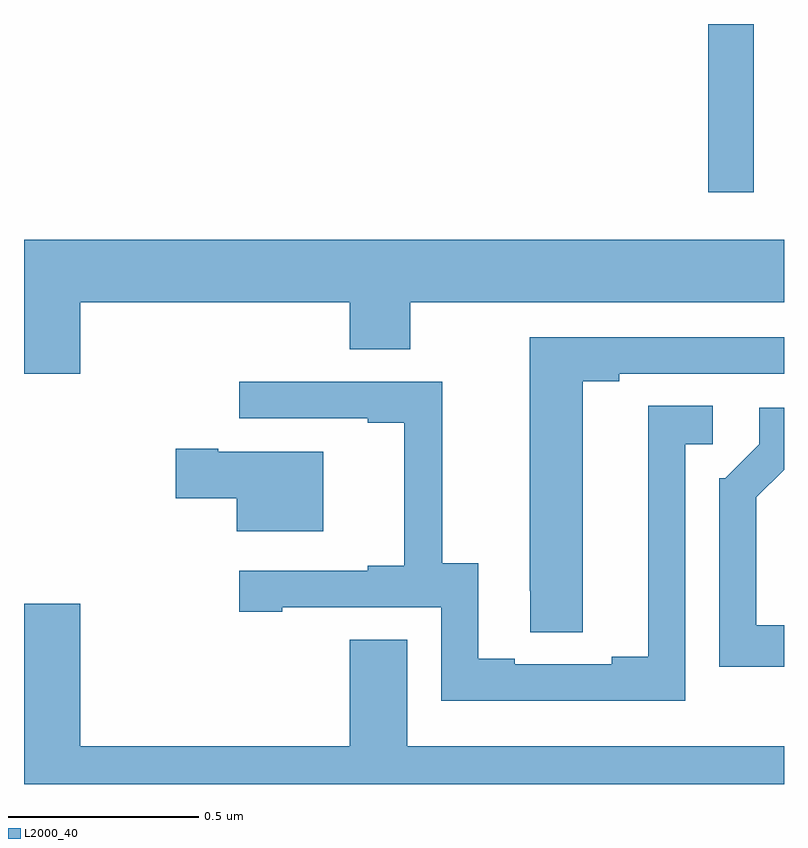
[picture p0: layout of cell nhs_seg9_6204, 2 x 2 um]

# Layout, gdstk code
import gdstk
lib = gdstk.Library(unit=1e-6, precision=1e-09)
def R(c, l, rs):  # rectangles x0, y0, x1, y1
    for r in rs: c.add(gdstk.rectangle(r[:2], r[2:], *l))
def P(c, l, *ps):  # polygons
    for p in ps: c.add(gdstk.Polygon(p, *l))
L2000_40 = (2000, 40)

nhs_seg9_6204 = lib.new_cell('nhs_seg9_6204')
R(nhs_seg9_6204, L2000_40, [(190.8,1182.057,190.921,1182.5)])
P(nhs_seg9_6204, L2000_40, [(189.148,1181.768),(189.857,1181.768),(189.857,1181.644),(190.017,1181.644),(190.017,1181.768),(191,1181.768),(191,1181.932),(189,1181.932),(189,1181.58),(189.148,1181.58)],
  [(190.471,1181.56),(190.567,1181.56),(190.567,1181.58),(191,1181.58),(191,1181.676),(190.331,1181.676),(190.331,1181.008),(190.332,1181.008),(190.332,1180.9),(190.471,1180.9)],
  [(190.74,1181.394),(190.813,1181.394),(190.813,1181.495),(190.643,1181.495),(190.643,1180.835),(190.547,1180.835),(190.547,1180.815),(190.291,1180.815),(190.291,1180.83),(190.195,1180.83),(190.195,1181.081),(190.101,1181.081),(190.101,1181.559),(189.567,1181.559),(189.567,1181.463),(189.905,1181.463),(189.905,1181.451),(190.001,1181.451),(190.001,1181.074),(189.905,1181.074),(189.905,1181.061),(189.567,1181.061),(189.567,1180.953),(189.679,1180.953),(189.679,1180.965),(190.098,1180.965),(190.098,1180.719),(190.74,1180.719)],
  [(191,1180.918),(190.927,1180.918),(190.927,1181.254),(191,1181.327),(191,1181.49),(190.935,1181.49),(190.935,1181.394),(190.845,1181.304),(190.83,1181.304),(190.83,1180.808),(191,1180.808)],
  [(189.787,1181.374),(189.511,1181.374),(189.511,1181.382),(189.399,1181.382),(189.399,1181.252),(189.56,1181.252),(189.56,1181.165),(189.787,1181.165)],
  [(191,1180.6),(190.009,1180.6),(190.009,1180.88),(189.857,1180.88),(189.857,1180.6),(189.148,1180.6),(189.148,1180.975),(189,1180.975),(189,1180.5),(191,1180.5)])

lib.write_gds('nhs_seg9_6204.gds')
